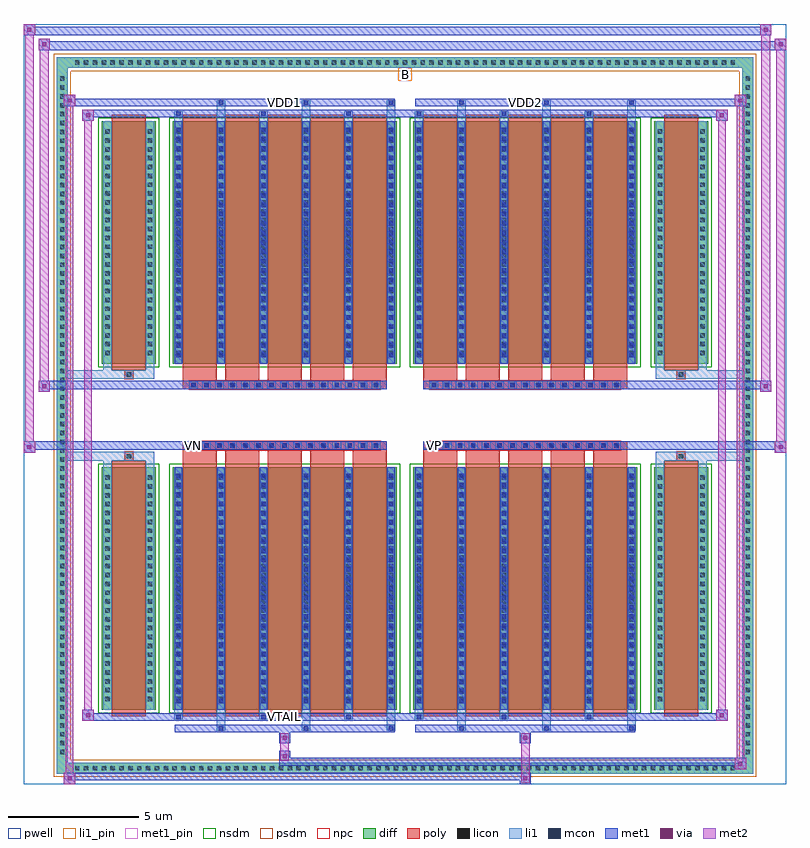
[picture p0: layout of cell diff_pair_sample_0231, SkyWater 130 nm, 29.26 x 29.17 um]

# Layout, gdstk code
import gdstk
lib = gdstk.Library(unit=1e-6, precision=5e-09)
def R(c, l, rs):  # rectangles x0, y0, x1, y1
    for r in rs: c.add(gdstk.rectangle(r[:2], r[2:], *l))
def A(c, l, x, y, w, h, nx, ny, dx, dy):  # array of equal rectangles
    R(c, l, [(x+i*dx, y+j*dy, x+i*dx+w, y+j*dy+h) for i in range(nx) for j in range(ny)])
def P(c, l, *ps):  # polygons
    for p in ps: c.add(gdstk.Polygon(p, *l))
pwell = (64, 44)
diff = (65, 20)
poly = (66, 20)
licon = (66, 44)
li1_pin = (67, 16)
li1 = (67, 20)
mcon = (67, 44)
met1_pin = (68, 16)
met1 = (68, 20)
via = (68, 44)
met2 = (69, 20)
nsdm = (93, 44)
psdm = (94, 20)
npc = (95, 20)

diff_pair_sample_0231 = lib.new_cell('diff_pair_sample_0231')
R(diff_pair_sample_0231, pwell, [(-14.63,-14.15,14.63,15.02), (-11.95,-12.34,-0.01,-0.8), (0.01,-12.34,11.95,-0.8), (-11.95,0.8,-0.01,12.34), (0.01,0.8,11.95,12.34)])
A(diff_pair_sample_0231, diff, -12.785, -13.75, 0.41, 0.41, 75, 2, 0.34, 27.09)
A(diff_pair_sample_0231, diff, -13.36, -13.125, 0.41, 0.41, 1, 77, 0, 0.34)
A(diff_pair_sample_0231, diff, 12.95, -13.125, 0.41, 0.41, 1, 77, 0, 0.34)
R(diff_pair_sample_0231, diff, [(-12.785,-13.75,12.785,-13.34), (-13.36,-13.125,-12.95,13.125), (12.95,-13.125,13.36,13.125), (-11.64,-11.295,-9.56,-1.985), (-8.92,-11.295,-0.32,-1.985), (0.32,-11.295,8.92,-1.985), (9.56,-11.295,11.64,-1.985), (-11.64,1.985,-9.56,11.295), (-8.92,1.985,-0.32,11.295), (0.32,1.985,8.92,11.295), (9.56,1.985,11.64,11.295), (-12.785,13.34,12.785,13.75)])
P(diff_pair_sample_0231, diff, [(13.36,13.75),(-13.36,13.75),(-13.36,-13.34),(-12.95,-13.34),(-12.95,13.34),(12.95,13.34),(12.95,-13.34),(-12.95,-13.34),(-13.36,-13.34),(-13.36,-13.75),(13.36,-13.75)])
A(diff_pair_sample_0231, poly, -8.53, -11.545, 1.3, 9.81, 5, 2, 1.63, 13.28)
A(diff_pair_sample_0231, poly, 0.71, -11.545, 1.3, 9.81, 5, 2, 1.63, 13.28)
A(diff_pair_sample_0231, poly, -8.53, -1.735, 1.3, 0.405, 5, 2, 1.63, 3.065)
A(diff_pair_sample_0231, poly, 0.71, -1.735, 1.3, 0.405, 5, 2, 1.63, 3.065)
A(diff_pair_sample_0231, poly, -8.285, -1.33, 0.33, 0.33, 15, 2, 0.5, 2.33)
A(diff_pair_sample_0231, poly, 0.955, -1.33, 0.33, 0.33, 15, 2, 0.5, 2.33)
R(diff_pair_sample_0231, poly, [(-11.25,-11.545,-9.95,-1.735), (9.95,-11.545,11.25,-1.735), (-10.765,-1.735,-10.435,-1.405), (-10.765,-1.735,-10.435,-1.405), (10.435,-1.735,10.765,-1.405), (10.435,-1.735,10.765,-1.405), (-8.53,-1.33,-0.71,-1), (0.71,-1.33,8.53,-1), (-8.53,1,-0.71,1.33), (0.71,1,8.53,1.33), (-10.765,1.405,-10.435,1.735), (-10.765,1.405,-10.435,1.735), (10.435,1.405,10.765,1.735), (10.435,1.405,10.765,1.735), (-11.25,1.735,-9.95,11.545), (9.95,1.735,11.25,11.545)])
A(diff_pair_sample_0231, licon, -12.665, -13.63, 0.17, 0.17, 75, 2, 0.34, 27.09)
A(diff_pair_sample_0231, licon, -13.24, -13.005, 0.17, 0.17, 1, 77, 0, 0.34)
A(diff_pair_sample_0231, licon, 13.07, -13.005, 0.17, 0.17, 1, 77, 0, 0.34)
A(diff_pair_sample_0231, licon, -11.5, -10.975, 0.17, 0.17, 1, 26, 0, 0.34)
A(diff_pair_sample_0231, licon, -9.87, -10.975, 0.17, 0.17, 1, 26, 0, 0.34)
A(diff_pair_sample_0231, licon, -8.78, -10.975, 0.17, 0.17, 6, 26, 1.63, 0.34)
A(diff_pair_sample_0231, licon, 0.46, -10.975, 0.17, 0.17, 6, 26, 1.63, 0.34)
A(diff_pair_sample_0231, licon, 9.7, -10.975, 0.17, 0.17, 1, 26, 0, 0.34)
A(diff_pair_sample_0231, licon, 11.33, -10.975, 0.17, 0.17, 1, 26, 0, 0.34)
A(diff_pair_sample_0231, licon, -8.205, -1.25, 0.17, 0.17, 15, 2, 0.5, 2.33)
A(diff_pair_sample_0231, licon, 1.035, -1.25, 0.17, 0.17, 15, 2, 0.5, 2.33)
A(diff_pair_sample_0231, licon, -11.5, 2.305, 0.17, 0.17, 1, 26, 0, 0.34)
A(diff_pair_sample_0231, licon, -9.87, 2.305, 0.17, 0.17, 1, 26, 0, 0.34)
A(diff_pair_sample_0231, licon, -8.78, 2.305, 0.17, 0.17, 6, 26, 1.63, 0.34)
A(diff_pair_sample_0231, licon, 0.46, 2.305, 0.17, 0.17, 6, 26, 1.63, 0.34)
A(diff_pair_sample_0231, licon, 9.7, 2.305, 0.17, 0.17, 1, 26, 0, 0.34)
A(diff_pair_sample_0231, licon, 11.33, 2.305, 0.17, 0.17, 1, 26, 0, 0.34)
R(diff_pair_sample_0231, licon, [(-10.685,-1.655,-10.515,-1.485), (10.515,-1.655,10.685,-1.485), (-10.685,1.485,-10.515,1.655), (10.515,1.485,10.685,1.655)])
R(diff_pair_sample_0231, li1_pin, [(-0.25,12.84,0.25,13.34)])
A(diff_pair_sample_0231, li1, -12.745, -13.71, 0.33, 0.33, 75, 2, 0.34, 27.09)
A(diff_pair_sample_0231, li1, -13.32, -13.085, 0.33, 0.33, 1, 77, 0, 0.34)
A(diff_pair_sample_0231, li1, 12.99, -13.085, 0.33, 0.33, 1, 77, 0, 0.34)
A(diff_pair_sample_0231, li1, -7.23, -12.1, 0.33, 0.805, 3, 2, 3.26, 23.395)
A(diff_pair_sample_0231, li1, -7.15, -12.1, 0.17, 0.17, 3, 2, 3.26, 24.03)
A(diff_pair_sample_0231, li1, 2.01, -12.1, 0.33, 0.805, 3, 2, 3.26, 23.395)
A(diff_pair_sample_0231, li1, 2.09, -12.1, 0.17, 0.17, 3, 2, 3.26, 24.03)
A(diff_pair_sample_0231, li1, -8.86, -11.67, 0.33, 0.375, 3, 2, 3.26, 22.965)
A(diff_pair_sample_0231, li1, -8.78, -11.67, 0.17, 0.17, 3, 2, 3.26, 23.17)
A(diff_pair_sample_0231, li1, 0.38, -11.67, 0.33, 0.375, 3, 2, 3.26, 22.965)
A(diff_pair_sample_0231, li1, 0.46, -11.67, 0.17, 0.17, 3, 2, 3.26, 23.17)
A(diff_pair_sample_0231, li1, -8.86, -11.295, 0.33, 9.31, 6, 2, 1.63, 13.28)
A(diff_pair_sample_0231, li1, 0.38, -11.295, 0.33, 9.31, 6, 2, 1.63, 13.28)
A(diff_pair_sample_0231, li1, -11.58, -11.055, 0.33, 0.33, 1, 26, 0, 0.34)
A(diff_pair_sample_0231, li1, -9.95, -11.055, 0.33, 0.33, 1, 26, 0, 0.34)
A(diff_pair_sample_0231, li1, -8.86, -11.055, 0.33, 0.33, 6, 26, 1.63, 0.34)
A(diff_pair_sample_0231, li1, 0.38, -11.055, 0.33, 0.33, 6, 26, 1.63, 0.34)
A(diff_pair_sample_0231, li1, 9.62, -11.055, 0.33, 0.33, 1, 26, 0, 0.34)
A(diff_pair_sample_0231, li1, 11.25, -11.055, 0.33, 0.33, 1, 26, 0, 0.34)
A(diff_pair_sample_0231, li1, -8.78, -11.045, 0.17, 0.17, 6, 25, 1.63, 0.36)
A(diff_pair_sample_0231, li1, -8.78, -11.045, 0.17, 8.81, 6, 2, 1.63, 13.28)
A(diff_pair_sample_0231, li1, 0.46, -11.045, 0.17, 0.17, 6, 25, 1.63, 0.36)
A(diff_pair_sample_0231, li1, 0.46, -11.045, 0.17, 8.81, 6, 2, 1.63, 13.28)
A(diff_pair_sample_0231, li1, -8.285, -1.33, 0.33, 0.33, 15, 2, 0.5, 2.33)
A(diff_pair_sample_0231, li1, 0.955, -1.33, 0.33, 0.33, 15, 2, 0.5, 2.33)
A(diff_pair_sample_0231, li1, -11.58, 2.225, 0.33, 0.33, 1, 26, 0, 0.34)
A(diff_pair_sample_0231, li1, -9.95, 2.225, 0.33, 0.33, 1, 26, 0, 0.34)
A(diff_pair_sample_0231, li1, -8.86, 2.225, 0.33, 0.33, 6, 26, 1.63, 0.34)
A(diff_pair_sample_0231, li1, 0.38, 2.225, 0.33, 0.33, 6, 26, 1.63, 0.34)
A(diff_pair_sample_0231, li1, 9.62, 2.225, 0.33, 0.33, 1, 26, 0, 0.34)
A(diff_pair_sample_0231, li1, 11.25, 2.225, 0.33, 0.33, 1, 26, 0, 0.34)
A(diff_pair_sample_0231, li1, -8.78, 2.235, 0.17, 0.17, 6, 25, 1.63, 0.36)
A(diff_pair_sample_0231, li1, 0.46, 2.235, 0.17, 0.17, 6, 25, 1.63, 0.36)
R(diff_pair_sample_0231, li1, [(-13.36,-13.75,-12.95,-13.34), (-13.36,-13.75,-12.95,-13.34), (-12.95,-13.75,12.95,-13.34), (12.95,-13.75,13.36,-13.34), (12.95,-13.75,13.36,-13.34), (-13.36,-13.34,-12.95,13.34), (12.95,-13.34,13.36,13.34), (-11.58,-11.295,-11.25,-1.985), (-9.95,-11.295,-9.62,-1.985), (9.62,-11.295,9.95,-1.985), (11.25,-11.295,11.58,-1.985), (-11.58,-1.985,-11.25,-1.405), (-9.95,-1.985,-9.62,-1.405), (9.62,-1.985,9.95,-1.405), (11.25,-1.985,11.58,-1.405), (-13.36,-1.735,-10.765,-1.405), (-11.58,-1.735,-10.765,-1.405), (-10.765,-1.735,-10.435,-1.405), (-10.435,-1.735,-9.62,-1.405), (9.62,-1.735,10.435,-1.405), (10.435,-1.735,10.765,-1.405), (10.435,-1.735,13.36,-1.405), (10.765,-1.735,11.58,-1.405), (-13.36,1.405,-10.765,1.735), (-11.58,1.405,-10.765,1.735), (-11.58,1.405,-11.25,1.985), (-10.765,1.405,-10.435,1.735), (-10.435,1.405,-9.62,1.735), (-9.95,1.405,-9.62,1.985), (9.62,1.405,10.435,1.735), (9.62,1.405,9.95,1.985), (10.435,1.405,10.765,1.735), (10.435,1.405,13.36,1.735), (10.765,1.405,11.58,1.735), (11.25,1.405,11.58,1.985), (-11.58,1.985,-11.25,11.295), (-9.95,1.985,-9.62,11.295), (9.62,1.985,9.95,11.295), (11.25,1.985,11.58,11.295), (-13.36,13.34,-12.95,13.75), (-13.36,13.34,-12.95,13.75), (-12.95,13.34,12.95,13.75), (12.95,13.34,13.36,13.75), (12.95,13.34,13.36,13.75)])
A(diff_pair_sample_0231, mcon, -7.15, -12.1, 0.17, 0.17, 3, 2, 3.26, 24.03)
A(diff_pair_sample_0231, mcon, 2.09, -12.1, 0.17, 0.17, 3, 2, 3.26, 24.03)
A(diff_pair_sample_0231, mcon, -8.78, -11.67, 0.17, 0.17, 3, 2, 3.26, 23.17)
A(diff_pair_sample_0231, mcon, 0.46, -11.67, 0.17, 0.17, 3, 2, 3.26, 23.17)
A(diff_pair_sample_0231, mcon, -8.78, -11.045, 0.17, 0.17, 6, 25, 1.63, 0.36)
A(diff_pair_sample_0231, mcon, 0.46, -11.045, 0.17, 0.17, 6, 25, 1.63, 0.36)
A(diff_pair_sample_0231, mcon, -8.205, -1.25, 0.17, 0.17, 15, 2, 0.5, 2.33)
A(diff_pair_sample_0231, mcon, 1.035, -1.25, 0.17, 0.17, 15, 2, 0.5, 2.33)
A(diff_pair_sample_0231, mcon, -8.78, 2.235, 0.17, 0.17, 6, 25, 1.63, 0.36)
A(diff_pair_sample_0231, mcon, 0.46, 2.235, 0.17, 0.17, 6, 25, 1.63, 0.36)
R(diff_pair_sample_0231, met1_pin, [(-4.755,-11.71,-4.485,-11.44), (-8.255,-1.29,-7.985,-1.02), (0.985,-1.29,1.255,-1.02), (-4.755,11.89,-4.485,12.16), (4.485,11.89,4.755,12.16)])
A(diff_pair_sample_0231, met1, -7.21, -12.16, 0.29, 0.29, 3, 2, 3.26, 24.03)
A(diff_pair_sample_0231, met1, 2.03, -12.16, 0.29, 0.29, 3, 2, 3.26, 24.03)
A(diff_pair_sample_0231, met1, -8.84, -11.73, 0.29, 0.29, 3, 2, 3.26, 23.17)
A(diff_pair_sample_0231, met1, 0.4, -11.73, 0.29, 0.29, 3, 2, 3.26, 23.17)
A(diff_pair_sample_0231, met1, -8.84, -11.295, 0.29, 9.31, 6, 2, 1.63, 13.28)
A(diff_pair_sample_0231, met1, 0.4, -11.295, 0.29, 9.31, 6, 2, 1.63, 13.28)
A(diff_pair_sample_0231, met1, -8.84, -11.105, 0.29, 0.29, 6, 25, 1.63, 0.36)
A(diff_pair_sample_0231, met1, 0.4, -11.105, 0.29, 0.29, 6, 25, 1.63, 0.36)
A(diff_pair_sample_0231, met1, -8.265, -1.31, 0.29, 0.29, 15, 2, 0.5, 2.33)
A(diff_pair_sample_0231, met1, 0.975, -1.31, 0.29, 0.29, 15, 2, 0.5, 2.33)
A(diff_pair_sample_0231, met1, -8.84, 2.175, 0.29, 0.29, 6, 25, 1.63, 0.36)
A(diff_pair_sample_0231, met1, 0.4, 2.175, 0.29, 0.29, 6, 25, 1.63, 0.36)
R(diff_pair_sample_0231, met1, [(-13.09,-14.15,-12.66,-13.72), (4.405,-14.15,4.835,-13.72), (-13.09,-14.01,4.835,-13.72), (12.66,-13.58,13.09,-13.15), (-4.835,-13.44,13.09,-13.15), (-4.835,-13.3,-4.405,-12.87), (-4.835,-12.59,-4.405,-12.16), (4.405,-12.59,4.835,-12.16), (-8.84,-12.16,-0.4,-11.87), (0.4,-12.16,8.84,-11.87), (-12.38,-11.73,-11.95,-11.3), (-12.38,-11.73,-8.84,-11.44), (-8.84,-11.73,-0.4,-11.44), (-0.4,-11.73,0.4,-11.44), (0.4,-11.73,8.84,-11.44), (8.84,-11.73,12.38,-11.44), (11.95,-11.73,12.38,-11.3), (-14.63,-1.43,-14.2,-1), (14.2,-1.43,14.63,-1), (-14.63,-1.33,-0.71,-1), (-8.53,-1.33,-0.71,-1), (0.71,-1.33,8.53,-1), (0.71,-1.33,14.63,-1), (-14.06,0.9,-13.63,1.33), (13.63,0.9,14.06,1.33), (-14.06,1,-8.53,1.33), (-8.53,1,-0.71,1.33), (0.71,1,8.53,1.33), (8.53,1,14.06,1.33), (-12.38,11.3,-11.95,11.73), (11.95,11.3,12.38,11.73), (-12.38,11.44,-8.84,11.73), (-8.84,11.44,-0.4,11.73), (-0.4,11.44,0.4,11.73), (0.4,11.44,8.84,11.73), (8.84,11.44,12.38,11.73), (-13.09,11.87,-12.66,12.3), (-13.09,11.87,-8.84,12.16), (-8.84,11.87,-0.4,12.16), (0.4,11.87,8.84,12.16), (8.84,11.87,13.09,12.16), (12.66,11.87,13.09,12.3), (-14.06,14.02,-13.63,14.45), (-14.06,14.02,-11.95,14.35), (-11.95,14.02,11.95,14.35), (11.95,14.02,14.63,14.35), (14.2,14.02,14.63,14.45), (-14.63,14.59,-14.2,15.02), (-14.63,14.59,-11.95,14.92), (-11.95,14.59,11.95,14.92), (11.95,14.59,14.06,14.92), (13.63,14.59,14.06,15.02)])
R(diff_pair_sample_0231, via, [(-12.95,-14.01,-12.8,-13.86), (4.545,-14.01,4.695,-13.86), (12.8,-13.44,12.95,-13.29), (-4.695,-13.16,-4.545,-13.01), (-4.695,-12.45,-4.545,-12.3), (4.545,-12.45,4.695,-12.3), (-12.24,-11.59,-12.09,-11.44), (12.09,-11.59,12.24,-11.44), (-14.49,-1.29,-14.34,-1.14), (14.34,-1.29,14.49,-1.14), (-13.92,1.04,-13.77,1.19), (13.77,1.04,13.92,1.19), (-12.24,11.44,-12.09,11.59), (12.09,11.44,12.24,11.59), (-12.95,12.01,-12.8,12.16), (12.8,12.01,12.95,12.16), (-13.92,14.16,-13.77,14.31), (14.34,14.16,14.49,14.31), (-14.49,14.73,-14.34,14.88), (13.77,14.73,13.92,14.88)])
R(diff_pair_sample_0231, met2, [(-13.09,-14.15,-12.66,-13.72), (-13.02,-14.15,-12.73,12.3), (-12.73,-14.15,-12.66,-13.72), (-13.04,-14.1,-12.71,-13.77), (4.455,-14.1,4.785,-13.77), (4.455,-13.77,4.785,-12.54), (12.66,-13.58,13.09,-13.15), (12.73,-13.58,13.02,12.3), (13.02,-13.58,13.09,-13.15), (12.71,-13.53,13.04,-13.2), (-4.785,-13.25,-4.455,-12.92), (-4.785,-12.92,-4.455,-12.54), (-4.785,-12.54,-4.455,-12.21), (4.455,-12.54,4.785,-12.21), (-12.38,-11.73,-11.95,-11.3), (-12.31,-11.73,-12.02,11.73), (-12.02,-11.73,-11.95,-11.3), (11.95,-11.73,12.38,-11.3), (12.02,-11.73,12.31,11.73), (12.31,-11.73,12.38,-11.3), (-12.33,-11.68,-12,-11.35), (12,-11.68,12.33,-11.35), (-14.63,-1.43,-14.2,-1), (-14.58,-1.43,-14.25,15.02), (-14.25,-1.43,-14.2,-1), (14.2,-1.43,14.63,-1), (14.25,-1.43,14.58,14.45), (14.58,-1.43,14.63,-1), (-14.58,-1.38,-14.25,-1.05), (14.25,-1.38,14.58,-1.05), (-14.06,0.9,-13.63,1.33), (-14.01,0.9,-13.68,14.45), (-13.68,0.9,-13.63,1.33), (13.63,0.9,14.06,1.33), (13.68,0.9,14.01,15.02), (14.01,0.9,14.06,1.33), (-14.01,0.95,-13.68,1.28), (13.68,0.95,14.01,1.28), (-12.38,11.3,-11.95,11.73), (-12.02,11.3,-11.95,11.73), (11.95,11.3,12.38,11.73), (12.31,11.3,12.38,11.73), (-12.33,11.35,-12,11.68), (12,11.35,12.33,11.68), (-13.09,11.87,-12.66,12.3), (-12.73,11.87,-12.66,12.3), (12.66,11.87,13.09,12.3), (13.02,11.87,13.09,12.3), (-13.04,11.92,-12.71,12.25), (12.71,11.92,13.04,12.25), (-14.06,14.02,-13.63,14.45), (-13.68,14.02,-13.63,14.45), (14.2,14.02,14.63,14.45), (14.58,14.02,14.63,14.45), (-14.01,14.07,-13.68,14.4), (14.25,14.07,14.58,14.4), (-14.63,14.59,-14.2,15.02), (-14.25,14.59,-14.2,15.02), (13.63,14.59,14.06,15.02), (14.01,14.59,14.06,15.02), (-14.58,14.64,-14.25,14.97), (13.68,14.64,14.01,14.97)])
R(diff_pair_sample_0231, nsdm, [(-11.77,-11.425,-9.43,-1.855), (-9.05,-11.425,-0.19,-1.855), (0.19,-11.425,9.05,-1.855), (9.43,-11.425,11.77,-1.855), (-11.77,1.855,-9.43,11.425), (-9.05,1.855,-0.19,11.425), (0.19,1.855,9.05,11.425), (9.43,1.855,11.77,11.425)])
P(diff_pair_sample_0231, psdm, [(13.49,13.88),(-13.49,13.88),(-13.49,-13.21),(-12.82,-13.21),(-12.82,13.21),(12.82,13.21),(12.82,-13.21),(-12.82,-13.21),(-13.49,-13.21),(-13.49,-13.88),(13.49,-13.88)])
A(diff_pair_sample_0231, npc, -8.305, -1.35, 0.37, 0.37, 15, 2, 0.5, 2.33)
A(diff_pair_sample_0231, npc, 0.935, -1.35, 0.37, 0.37, 15, 2, 0.5, 2.33)
R(diff_pair_sample_0231, npc, [(-10.785,-1.755,-10.415,-1.385), (10.415,-1.755,10.785,-1.385), (-8.305,-1.35,-7.435,-0.98), (-8.305,-1.35,-7.435,-0.98), (-7.805,-1.35,-6.935,-0.98), (-7.805,-1.35,-6.935,-0.98), (-7.305,-1.35,-6.435,-0.98), (-7.305,-1.35,-6.435,-0.98), (-6.805,-1.35,-5.935,-0.98), (-6.805,-1.35,-5.935,-0.98), (-6.305,-1.35,-5.435,-0.98), (-6.305,-1.35,-5.435,-0.98), (-5.805,-1.35,-4.935,-0.98), (-5.805,-1.35,-4.935,-0.98), (-5.305,-1.35,-4.435,-0.98), (-5.305,-1.35,-4.435,-0.98), (-4.805,-1.35,-3.935,-0.98), (-4.805,-1.35,-3.935,-0.98), (-4.305,-1.35,-3.435,-0.98), (-4.305,-1.35,-3.435,-0.98), (-3.805,-1.35,-2.935,-0.98), (-3.805,-1.35,-2.935,-0.98), (-3.305,-1.35,-2.435,-0.98), (-3.305,-1.35,-2.435,-0.98), (-2.805,-1.35,-1.935,-0.98), (-2.805,-1.35,-1.935,-0.98), (-2.305,-1.35,-1.435,-0.98), (-2.305,-1.35,-1.435,-0.98), (-1.805,-1.35,-0.935,-0.98), (-1.805,-1.35,-0.935,-0.98), (0.935,-1.35,1.805,-0.98), (0.935,-1.35,1.805,-0.98), (1.435,-1.35,2.305,-0.98), (1.435,-1.35,2.305,-0.98), (1.935,-1.35,2.805,-0.98), (1.935,-1.35,2.805,-0.98), (2.435,-1.35,3.305,-0.98), (2.435,-1.35,3.305,-0.98), (2.935,-1.35,3.805,-0.98), (2.935,-1.35,3.805,-0.98), (3.435,-1.35,4.305,-0.98), (3.435,-1.35,4.305,-0.98), (3.935,-1.35,4.805,-0.98), (3.935,-1.35,4.805,-0.98), (4.435,-1.35,5.305,-0.98), (4.435,-1.35,5.305,-0.98), (4.935,-1.35,5.805,-0.98), (4.935,-1.35,5.805,-0.98), (5.435,-1.35,6.305,-0.98), (5.435,-1.35,6.305,-0.98), (5.935,-1.35,6.805,-0.98), (5.935,-1.35,6.805,-0.98), (6.435,-1.35,7.305,-0.98), (6.435,-1.35,7.305,-0.98), (6.935,-1.35,7.805,-0.98), (6.935,-1.35,7.805,-0.98), (7.435,-1.35,8.305,-0.98), (7.435,-1.35,8.305,-0.98), (-8.305,0.98,-7.435,1.35), (-8.305,0.98,-7.435,1.35), (-7.805,0.98,-6.935,1.35), (-7.805,0.98,-6.935,1.35), (-7.305,0.98,-6.435,1.35), (-7.305,0.98,-6.435,1.35), (-6.805,0.98,-5.935,1.35), (-6.805,0.98,-5.935,1.35), (-6.305,0.98,-5.435,1.35), (-6.305,0.98,-5.435,1.35), (-5.805,0.98,-4.935,1.35), (-5.805,0.98,-4.935,1.35), (-5.305,0.98,-4.435,1.35), (-5.305,0.98,-4.435,1.35), (-4.805,0.98,-3.935,1.35), (-4.805,0.98,-3.935,1.35), (-4.305,0.98,-3.435,1.35), (-4.305,0.98,-3.435,1.35), (-3.805,0.98,-2.935,1.35), (-3.805,0.98,-2.935,1.35), (-3.305,0.98,-2.435,1.35), (-3.305,0.98,-2.435,1.35), (-2.805,0.98,-1.935,1.35), (-2.805,0.98,-1.935,1.35), (-2.305,0.98,-1.435,1.35), (-2.305,0.98,-1.435,1.35), (-1.805,0.98,-0.935,1.35), (-1.805,0.98,-0.935,1.35), (0.935,0.98,1.805,1.35), (0.935,0.98,1.805,1.35), (1.435,0.98,2.305,1.35), (1.435,0.98,2.305,1.35), (1.935,0.98,2.805,1.35), (1.935,0.98,2.805,1.35), (2.435,0.98,3.305,1.35), (2.435,0.98,3.305,1.35), (2.935,0.98,3.805,1.35), (2.935,0.98,3.805,1.35), (3.435,0.98,4.305,1.35), (3.435,0.98,4.305,1.35), (3.935,0.98,4.805,1.35), (3.935,0.98,4.805,1.35), (4.435,0.98,5.305,1.35), (4.435,0.98,5.305,1.35), (4.935,0.98,5.805,1.35), (4.935,0.98,5.805,1.35), (5.435,0.98,6.305,1.35), (5.435,0.98,6.305,1.35), (5.935,0.98,6.805,1.35), (5.935,0.98,6.805,1.35), (6.435,0.98,7.305,1.35), (6.435,0.98,7.305,1.35), (6.935,0.98,7.805,1.35), (6.935,0.98,7.805,1.35), (7.435,0.98,8.305,1.35), (7.435,0.98,8.305,1.35), (-10.785,1.385,-10.415,1.755), (10.415,1.385,10.785,1.755)])
diff_pair_sample_0231.add(gdstk.Label('VTAIL', (-4.62,-11.575), layer=68, texttype=5))
diff_pair_sample_0231.add(gdstk.Label('VN', (-8.12,-1.155), layer=68, texttype=5))
diff_pair_sample_0231.add(gdstk.Label('VP', (1.12,-1.155), layer=68, texttype=5))
diff_pair_sample_0231.add(gdstk.Label('B', (0,13.09), layer=67, texttype=5))
diff_pair_sample_0231.add(gdstk.Label('VDD2', (4.62,12.025), layer=68, texttype=5))
diff_pair_sample_0231.add(gdstk.Label('VDD1', (-4.62,12.025), layer=68, texttype=5))

lib.write_gds('diff_pair_sample_0231.gds')
